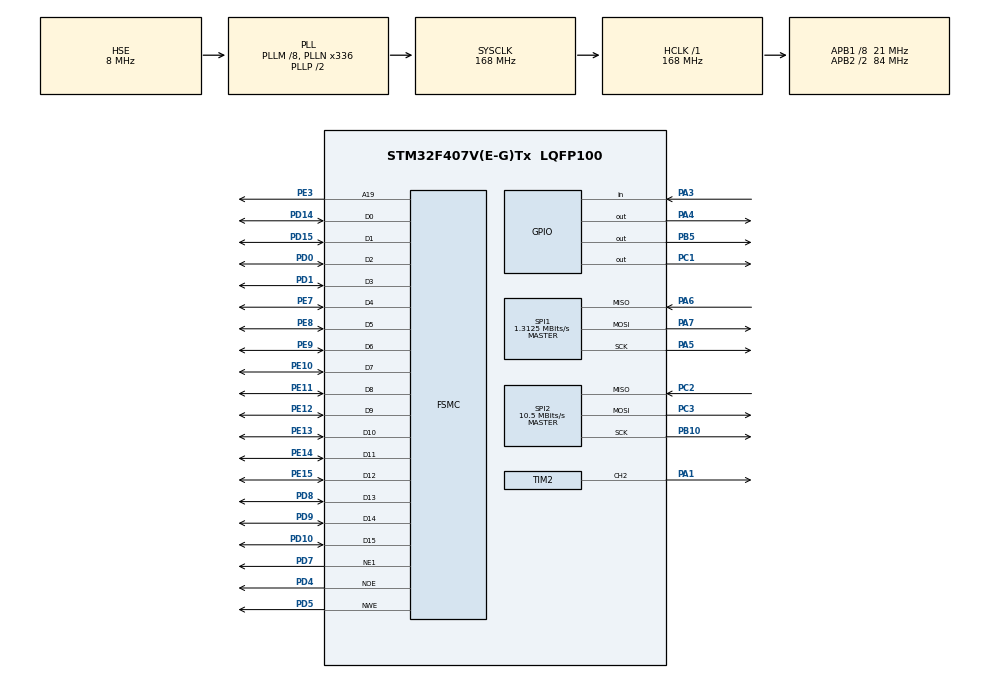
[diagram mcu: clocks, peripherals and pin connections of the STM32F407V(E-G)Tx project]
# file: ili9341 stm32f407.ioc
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FATFS._MAX_SS=4096
FATFS._USE_LFN=1
FSMC.AddressSetupTime1=9
FSMC.DataSetupTime1=36
Mcu.Family=STM32F4
Mcu.Name=STM32F407V(E-G)Tx
Mcu.Package=LQFP100
NVIC.PriorityGroup=NVIC_PRIORITYGROUP_0
PA1.Signal=S_TIM2_CH2
PA3.GPIO_PuPd=GPIO_PULLUP
PA3.Signal=GPIO_Input
PA4.Signal=GPIO_Output
PA5.Mode=Full_Duplex_Master
PA5.Signal=SPI1_SCK
PA6.Mode=Full_Duplex_Master
PA6.Signal=SPI1_MISO
PA7.Mode=Full_Duplex_Master
PA7.Signal=SPI1_MOSI
PB10.Mode=Full_Duplex_Master
PB10.Signal=SPI2_SCK
PB5.Signal=GPIO_Output
PC1.Signal=GPIO_Output
PC2.Mode=Full_Duplex_Master
PC2.Signal=SPI2_MISO
PC3.Mode=Full_Duplex_Master
PC3.Signal=SPI2_MOSI
PD0.Mode=16b-d1
PD0.Signal=FSMC_D2
PD1.Mode=16b-d1
PD1.Signal=FSMC_D3
PD10.Mode=16b-d1
PD10.Signal=FSMC_D15
PD14.Mode=16b-d1
PD14.Signal=FSMC_D0
PD15.Mode=16b-d1
PD15.Signal=FSMC_D1
PD4.Mode=Lcd1
PD4.Signal=FSMC_NOE
PD5.Mode=Lcd1
PD5.Signal=FSMC_NWE
PD7.Mode=NorPsramChipSelect1_1
PD7.Signal=FSMC_NE1
PD8.Mode=16b-d1
PD8.Signal=FSMC_D13
PD9.Mode=16b-d1
PD9.Signal=FSMC_D14
PE10.Mode=16b-d1
PE10.Signal=FSMC_D7
PE11.Mode=16b-d1
PE11.Signal=FSMC_D8
PE12.Mode=16b-d1
PE12.Signal=FSMC_D9
PE13.Mode=16b-d1
PE13.Signal=FSMC_D10
PE14.Mode=16b-d1
PE14.Signal=FSMC_D11
PE15.Mode=16b-d1
PE15.Signal=FSMC_D12
PE3.Mode=A19_1
PE3.Signal=FSMC_A19
PE7.Mode=16b-d1
PE7.Signal=FSMC_D4
PE8.Mode=16b-d1
PE8.Signal=FSMC_D5
PE9.Mode=16b-d1
PE9.Signal=FSMC_D6
PH0-OSC_IN.Mode=HSE-External-Oscillator
PH0-OSC_IN.Signal=RCC_OSC_IN
PH1-OSC_OUT.Mode=HSE-External-Oscillator
PH1-OSC_OUT.Signal=RCC_OSC_OUT
ProjectManager.HeapSize=0x200
ProjectManager.StackSize=0x400
ProjectManager.TargetToolchain=STM32CubeIDE
RCC.48MHZClocksFreq_Value=48000000
RCC.AHBFreq_Value=168000000
RCC.APB1CLKDivider=RCC_HCLK_DIV8
RCC.APB1Freq_Value=21000000
RCC.APB1TimFreq_Value=42000000
RCC.APB2CLKDivider=RCC_HCLK_DIV2
RCC.APB2Freq_Value=84000000
RCC.APB2TimFreq_Value=168000000
RCC.CortexFreq_Value=168000000
RCC.HCLKFreq_Value=168000000
RCC.HSE_VALUE=8000000
RCC.HSI_VALUE=16000000
RCC.LSE_VALUE=32768
RCC.PLLM=8
RCC.PLLN=336
RCC.PLLQ=7
RCC.PLLSourceVirtual=RCC_PLLSOURCE_HSE
RCC.SYSCLKFreq_VALUE=168000000
RCC.SYSCLKSource=RCC_SYSCLKSOURCE_PLLCLK
RCC.VCOOutputFreq_Value=336000000
SH.S_TIM2_CH2.0=TIM2_CH2,PWM Generation2 CH2
SPI1.BaudRatePrescaler=SPI_BAUDRATEPRESCALER_64
SPI1.CalculateBaudRate=1.3125 MBits/s
SPI1.Direction=SPI_DIRECTION_2LINES
SPI1.Mode=SPI_MODE_MASTER
SPI1.VirtualType=VM_MASTER
SPI2.BaudRatePrescaler=SPI_BAUDRATEPRESCALER_2
SPI2.CalculateBaudRate=10.5 MBits/s
SPI2.Direction=SPI_DIRECTION_2LINES
SPI2.Mode=SPI_MODE_MASTER
SPI2.VirtualType=VM_MASTER
TIM2.Channel-PWM\ Generation2\ CH2=TIM_CHANNEL_2
TIM2.Period=9999
TIM2.Prescaler=840-1
VP_FATFS_VS_Generic.Mode=User_defined
VP_TIM2_VS_ClockSourceINT.Mode=Internal
board=STM32F407G-DISC1

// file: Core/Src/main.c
/* USER CODE BEGIN Header */
/**
  ******************************************************************************
  * @file           : main.c
  * @brief          : Main program body
  ******************************************************************************
  * @attention
  *
  * Copyright (c) 2022 STMicroelectronics.
  * All rights reserved.
  *
  * This software is licensed under terms that can be found in the LICENSE file
  * in the root directory of this software component.
  * If no LICENSE file comes with this software, it is provided AS-IS.
  *
  ******************************************************************************
  */
/* USER CODE END Header */
#include "main.h"
#include "fatfs.h"

/* USER CODE BEGIN Includes */
#include "ili9341.h"
#include "fatfs_sd.h"
#include "stdio.h"
#include "string.h"
#include <xpt2046.h>
int16_t x, y;
char buff[64];
uint16_t z=25;
/* USER CODE END Includes */

 SPI_HandleTypeDef hspi1;
SPI_HandleTypeDef hspi2;

TIM_HandleTypeDef htim2;

SRAM_HandleTypeDef hsram1;

void SystemClock_Config(void);
static void MX_GPIO_Init(void);
static void MX_FSMC_Init(void);
static void MX_SPI1_Init(void);
static void MX_TIM2_Init(void);
static void MX_SPI2_Init(void);

/* USER CODE BEGIN 0 */
FATFS fs;  // file system
FIL file; // File
FILINFO fno;
FRESULT fresult;  // result
UINT br, bw;  // File read/write count

/**** capacity related *****/
FATFS *pfs;
DWORD fre_clust;
uint32_t total, free_space;
char buffer[100];
uint16_t farbe;

typedef struct BmpHeader
{
uint8_t B;
uint8_t M;
uint32_t fsize;
uint16_t res1;
uint16_t res2;
uint32_t offset;
uint32_t hsize;
uint32_t w;
uint32_t h;
uint16_t planes;
uint16_t bpp;
uint32_t ctype;
uint32_t dsize;
uint32_t hppm;
uint32_t vppm;
uint32_t colorsused;
uint32_t colorreq;
}BmpHeader;

#define SPIbuffSize 264
#define BUFFER_SIZE 1032
#define BITMAP_HEADER_SIZE sizeof(BmpHeader)
#define MIN(a, b) (((a)<(b))?(a): (b))

int bufsize (char *buf)
{
   int i=0;
   while (*buf++ != '\0') i++;
   return i;
}

int bufclear (void)
{
    for (int i=0; i<1024;i++)
    {
    	buffer[i]= '\0';
    }
}

int displayImage(const char* fname) {
//    UART_Printf("Openning %s...\r\n", fname);
    FIL file;
    FRESULT res = f_open(&file, fname, FA_READ);
    if(res != FR_OK) {
        ILI9341_WriteString(0, 10, "f_open() failed, res = %d\r\n", Font_7x10, ILI9341_RED, ILI9341_WHITE);
        return -1;
    }

    ILI9341_WriteString(0, 20, "File opened, reading...\r\n", Font_7x10, ILI9341_RED, ILI9341_WHITE);

    unsigned int bytesRead;
    uint8_t header[34];
    res = f_read(&file, header, sizeof(header), &bytesRead);
    if(res != FR_OK) {
        ILI9341_WriteString(0, 30, "f_read() failed, res = %d\r\n", Font_7x10, ILI9341_RED, ILI9341_WHITE);
        f_close(&file);
        return -2;
    }

    if((header[0] != 0x42) || (header[1] != 0x4D)) {
        ILI9341_WriteString(0, 40, "Wrong BMP signature: 0x%02X 0x%02X\r\n", Font_7x10, ILI9341_RED, ILI9341_WHITE);
        f_close(&file);
        return -3;
    }

    uint32_t imageOffset = header[10] | (header[11] << 8) | (header[12] << 16) | (header[13] << 24);
    uint32_t imageWidth = header[18] | (header[19] << 8) | (header[20] << 16) | (header[21] << 24);
    uint32_t imageHeight = header[22] | (header[23] << 8) | (header[24] << 16) | (header[25] << 24);
    uint16_t imagePlanes = header[26] | (header[27] << 8);
    uint16_t imageBitsPerPixel = header[28] | (header[29] << 8);
    uint32_t imageCompression = header[30] | (header[31] << 8) | (header[32] << 16) | (header[33] << 24);

    snprintf(buff, sizeof(buff), "Pixels offset: %lu\r\n ", imageOffset);
	ILI9341_WriteString(0, 50, buff, Font_7x10, ILI9341_RED, ILI9341_WHITE);
    snprintf(buff, sizeof(buff), "WxH: %lux%lu\r\n ", imageWidth, imageHeight);
	ILI9341_WriteString(0, 60, buff, Font_7x10, ILI9341_RED, ILI9341_WHITE);
    snprintf(buff, sizeof(buff), "Planes: %d\r\n ", imagePlanes);
	ILI9341_WriteString(0, 70, buff, Font_7x10, ILI9341_RED, ILI9341_WHITE);
    snprintf(buff, sizeof(buff), "Bits per pixel: %d\r\n ", imageBitsPerPixel);
	ILI9341_WriteString(0, 80, buff, Font_7x10, ILI9341_RED, ILI9341_WHITE);
    snprintf(buff, sizeof(buff), "Compression: %d\r\n ", imageCompression);
	ILI9341_WriteString(0, 90, buff, Font_7x10, ILI9341_RED, ILI9341_WHITE);

    if((imageWidth != ILI9341_WIDTH) || (imageHeight != ILI9341_HEIGHT)) {
//        UART_Printf("Wrong BMP size, %dx%d expected\r\n", ST7735_WIDTH, ST7735_HEIGHT);
        ILI9341_WriteString(0, 100, "Wrong BMP size, %dx%d expected\r\n", Font_7x10, ILI9341_RED, ILI9341_WHITE);
        f_close(&file);
        return -4;
    }

    if((imagePlanes != 1) || (imageBitsPerPixel != 24) || (imageCompression != 0)) {
        ILI9341_WriteString(0, 110, "Unsupported image format\r\n", Font_7x10, ILI9341_RED, ILI9341_WHITE);
        f_close(&file);
        return -5;
    }

    res = f_lseek(&file, imageOffset);
    if(res != FR_OK) {

        snprintf(buff, sizeof(buff), "f_lseek() failed, res = %d\r\n ", res);
    	ILI9341_WriteString(0, 120, buff, Font_7x10, ILI9341_RED, ILI9341_WHITE);
        f_close(&file);
        return -6;
    }

    // row size is aligned to 4 bytes
    uint8_t imageRow[(ILI9341_WIDTH * 3 + 3) & ~3];
    for(uint32_t y = 0; y < imageHeight; y++) {
        uint32_t rowIdx = 0;
        res = f_read(&file, imageRow, sizeof(imageRow), &bytesRead);
        if(res != FR_OK) {
            snprintf(buff, sizeof(buff), "f_read() failed, res = %d\r\n", res);
        	ILI9341_WriteString(0, 130, buff, Font_7x10, ILI9341_RED, ILI9341_WHITE);
            f_close(&file);
            return -7;
        }

        for(uint32_t x = 0; x < imageWidth; x++) {
            uint8_t b = imageRow[rowIdx++];
            uint8_t g = imageRow[rowIdx++];
            uint8_t r = imageRow[rowIdx++];
            uint16_t color565 = ILI9341_COLOR565(r, g, b);
            ILI9341_DrawPixel(x, imageHeight - y - 1, color565);
        }
    }

    res = f_close(&file);
    if(res != FR_OK) {
//        UART_Printf("f_close() failed, res = %d\r\n", res);
        snprintf(buff, sizeof(buff), "f_close() failed, res = %d\r\n", res);
    	ILI9341_WriteString(0, 140, buff, Font_7x10, ILI9341_RED, ILI9341_WHITE);
        return -8;
    }

    return 0;
}
/* USER CODE END 0 */

int main(void)
{

  /* MCU Configuration--------------------------------------------------------*/

  /* Reset of all peripherals, Initializes the Flash interface and the Systick. */
  HAL_Init();

  /* Configure the system clock */
  SystemClock_Config();

  /* Initialize all configured peripherals */
  MX_GPIO_Init();
  MX_FSMC_Init();
  MX_SPI1_Init();
  MX_TIM2_Init();
  MX_SPI2_Init();
  MX_FATFS_Init();
  /* USER CODE BEGIN 2 */
  HAL_TIM_PWM_Start(&htim2, TIM_CHANNEL_2);
  ILI9341_Init();
  TSC2046_Begin(&hspi1, GPIOA, GPIO_PIN_4 );
//  TSC2046_Calibrate();
  /* USER CODE END 2 */
  FRESULT res = f_mount(&fs, "", 0);
  if(res != FR_OK) {
//      UART_Printf("f_mount() failed, res = %d\r\n", res);
      snprintf(buff, sizeof(buff), "f_mount() failed, res = %d\r\n", res);
  	ILI9341_WriteString(0, 150, buff, Font_7x10, ILI9341_RED, ILI9341_WHITE);
      return -2;
  }
  ILI9341_WriteString(0, 160, "f_mount() done!\r\n", Font_7x10, ILI9341_RED, ILI9341_WHITE);
//  UART_Printf("f_mount() done!\r\n");
  /* Infinite loop */
  while (1)
  {
	  displayImage("ismail.bmp");
	  HAL_Delay(1000);
	  displayImage("tiger.bmp");
	  HAL_Delay(1000);
	  displayImage("tiger1.bmp");
	  HAL_Delay(1000);
	  displayImage("tiger2.bmp");
	  HAL_Delay(1000);
  }
}

void SystemClock_Config(void)
{
  RCC_OscInitTypeDef RCC_OscInitStruct = {0};
  RCC_ClkInitTypeDef RCC_ClkInitStruct = {0};

  /** Configure the main internal regulator output voltage
  */
  __HAL_RCC_PWR_CLK_ENABLE();
  __HAL_PWR_VOLTAGESCALING_CONFIG(PWR_REGULATOR_VOLTAGE_SCALE1);

  /** Initializes the RCC Oscillators according to the specified parameters
  * in the RCC_OscInitTypeDef structure.
  */
  RCC_OscInitStruct.OscillatorType = RCC_OSCILLATORTYPE_HSE;
  RCC_OscInitStruct.HSEState = RCC_HSE_ON;
  RCC_OscInitStruct.PLL.PLLState = RCC_PLL_ON;
  RCC_OscInitStruct.PLL.PLLSource = RCC_PLLSOURCE_HSE;
  RCC_OscInitStruct.PLL.PLLM = 8;
  RCC_OscInitStruct.PLL.PLLN = 336;
  RCC_OscInitStruct.PLL.PLLP = RCC_PLLP_DIV2;
  RCC_OscInitStruct.PLL.PLLQ = 7;
  if (HAL_RCC_OscConfig(&RCC_OscInitStruct) != HAL_OK)
  {
    Error_Handler();
  }

  /** Initializes the CPU, AHB and APB buses clocks
  */
  RCC_ClkInitStruct.ClockType = RCC_CLOCKTYPE_HCLK|RCC_CLOCKTYPE_SYSCLK
                              |RCC_CLOCKTYPE_PCLK1|RCC_CLOCKTYPE_PCLK2;
  RCC_ClkInitStruct.SYSCLKSource = RCC_SYSCLKSOURCE_PLLCLK;
  RCC_ClkInitStruct.AHBCLKDivider = RCC_SYSCLK_DIV1;
  RCC_ClkInitStruct.APB1CLKDivider = RCC_HCLK_DIV8;
  RCC_ClkInitStruct.APB2CLKDivider = RCC_HCLK_DIV2;

  if (HAL_RCC_ClockConfig(&RCC_ClkInitStruct, FLASH_LATENCY_5) != HAL_OK)
  {
    Error_Handler();
  }
}

static void MX_SPI1_Init(void)
{

  /* SPI1 parameter configuration*/
  hspi1.Instance = SPI1;
  hspi1.Init.Mode = SPI_MODE_MASTER;
  hspi1.Init.Direction = SPI_DIRECTION_2LINES;
  hspi1.Init.DataSize = SPI_DATASIZE_8BIT;
  hspi1.Init.CLKPolarity = SPI_POLARITY_LOW;
  hspi1.Init.CLKPhase = SPI_PHASE_1EDGE;
  hspi1.Init.NSS = SPI_NSS_SOFT;
  hspi1.Init.BaudRatePrescaler = SPI_BAUDRATEPRESCALER_64;
  hspi1.Init.FirstBit = SPI_FIRSTBIT_MSB;
  hspi1.Init.TIMode = SPI_TIMODE_DISABLE;
  hspi1.Init.CRCCalculation = SPI_CRCCALCULATION_DISABLE;
  hspi1.Init.CRCPolynomial = 10;
  if (HAL_SPI_Init(&hspi1) != HAL_OK)
  {
    Error_Handler();
  }

}

static void MX_SPI2_Init(void)
{

  /* SPI2 parameter configuration*/
  hspi2.Instance = SPI2;
  hspi2.Init.Mode = SPI_MODE_MASTER;
  hspi2.Init.Direction = SPI_DIRECTION_2LINES;
  hspi2.Init.DataSize = SPI_DATASIZE_8BIT;
  hspi2.Init.CLKPolarity = SPI_POLARITY_LOW;
  hspi2.Init.CLKPhase = SPI_PHASE_1EDGE;
  hspi2.Init.NSS = SPI_NSS_SOFT;
  hspi2.Init.BaudRatePrescaler = SPI_BAUDRATEPRESCALER_2;
  hspi2.Init.FirstBit = SPI_FIRSTBIT_MSB;
  hspi2.Init.TIMode = SPI_TIMODE_DISABLE;
  hspi2.Init.CRCCalculation = SPI_CRCCALCULATION_DISABLE;
  hspi2.Init.CRCPolynomial = 10;
  if (HAL_SPI_Init(&hspi2) != HAL_OK)
  {
    Error_Handler();
  }

}

static void MX_TIM2_Init(void)
{

  TIM_ClockConfigTypeDef sClockSourceConfig = {0};
  TIM_MasterConfigTypeDef sMasterConfig = {0};
  TIM_OC_InitTypeDef sConfigOC = {0};

  htim2.Instance = TIM2;
  htim2.Init.Prescaler = 840-1;
  htim2.Init.CounterMode = TIM_COUNTERMODE_UP;
  htim2.Init.Period = 9999;
  htim2.Init.ClockDivision = TIM_CLOCKDIVISION_DIV1;
  htim2.Init.AutoReloadPreload = TIM_AUTORELOAD_PRELOAD_DISABLE;
  if (HAL_TIM_Base_Init(&htim2) != HAL_OK)
  {
    Error_Handler();
  }
  sClockSourceConfig.ClockSource = TIM_CLOCKSOURCE_INTERNAL;
  if (HAL_TIM_ConfigClockSource(&htim2, &sClockSourceConfig) != HAL_OK)
  {
    Error_Handler();
  }
  if (HAL_TIM_PWM_Init(&htim2) != HAL_OK)
  {
    Error_Handler();
  }
  sMasterConfig.MasterOutputTrigger = TIM_TRGO_RESET;
  sMasterConfig.MasterSlaveMode = TIM_MASTERSLAVEMODE_DISABLE;
  if (HAL_TIMEx_MasterConfigSynchronization(&htim2, &sMasterConfig) != HAL_OK)
  {
    Error_Handler();
  }
  sConfigOC.OCMode = TIM_OCMODE_PWM1;
  sConfigOC.Pulse = 0;
  sConfigOC.OCPolarity = TIM_OCPOLARITY_HIGH;
  sConfigOC.OCFastMode = TIM_OCFAST_DISABLE;
  if (HAL_TIM_PWM_ConfigChannel(&htim2, &sConfigOC, TIM_CHANNEL_2) != HAL_OK)
  {
    Error_Handler();
  }
  HAL_TIM_MspPostInit(&htim2);

}

static void MX_GPIO_Init(void)
{
  GPIO_InitTypeDef GPIO_InitStruct = {0};

  /* GPIO Ports Clock Enable */
  __HAL_RCC_GPIOE_CLK_ENABLE();
  __HAL_RCC_GPIOH_CLK_ENABLE();
  __HAL_RCC_GPIOC_CLK_ENABLE();
  __HAL_RCC_GPIOA_CLK_ENABLE();
  __HAL_RCC_GPIOB_CLK_ENABLE();
  __HAL_RCC_GPIOD_CLK_ENABLE();

  /*Configure GPIO pin Output Level */
  HAL_GPIO_WritePin(GPIOC, GPIO_PIN_1, GPIO_PIN_RESET);

  /*Configure GPIO pin Output Level */
  HAL_GPIO_WritePin(GPIOA, GPIO_PIN_4, GPIO_PIN_RESET);

  /*Configure GPIO pin Output Level */
  HAL_GPIO_WritePin(GPIOB, GPIO_PIN_5, GPIO_PIN_RESET);

  /*Configure GPIO pin : PC1 */
  GPIO_InitStruct.Pin = GPIO_PIN_1;
  GPIO_InitStruct.Mode = GPIO_MODE_OUTPUT_PP;
  GPIO_InitStruct.Pull = GPIO_NOPULL;
  GPIO_InitStruct.Speed = GPIO_SPEED_FREQ_LOW;
  HAL_GPIO_Init(GPIOC, &GPIO_InitStruct);

  /*Configure GPIO pin : PA3 */
  GPIO_InitStruct.Pin = GPIO_PIN_3;
  GPIO_InitStruct.Mode = GPIO_MODE_INPUT;
  GPIO_InitStruct.Pull = GPIO_PULLUP;
  HAL_GPIO_Init(GPIOA, &GPIO_InitStruct);

  /*Configure GPIO pin : PA4 */
  GPIO_InitStruct.Pin = GPIO_PIN_4;
  GPIO_InitStruct.Mode = GPIO_MODE_OUTPUT_PP;
  GPIO_InitStruct.Pull = GPIO_NOPULL;
  GPIO_InitStruct.Speed = GPIO_SPEED_FREQ_LOW;
  HAL_GPIO_Init(GPIOA, &GPIO_InitStruct);

  /*Configure GPIO pin : PB5 */
  GPIO_InitStruct.Pin = GPIO_PIN_5;
  GPIO_InitStruct.Mode = GPIO_MODE_OUTPUT_PP;
  GPIO_InitStruct.Pull = GPIO_NOPULL;
  GPIO_InitStruct.Speed = GPIO_SPEED_FREQ_LOW;
  HAL_GPIO_Init(GPIOB, &GPIO_InitStruct);

}

/* FSMC initialization function */
static void MX_FSMC_Init(void)
{

  FSMC_NORSRAM_TimingTypeDef Timing = {0};

  /** Perform the SRAM1 memory initialization sequence
  */
  hsram1.Instance = FSMC_NORSRAM_DEVICE;
  hsram1.Extended = FSMC_NORSRAM_EXTENDED_DEVICE;
  /* hsram1.Init */
  hsram1.Init.NSBank = FSMC_NORSRAM_BANK1;
  hsram1.Init.DataAddressMux = FSMC_DATA_ADDRESS_MUX_DISABLE;
  hsram1.Init.MemoryType = FSMC_MEMORY_TYPE_SRAM;
  hsram1.Init.MemoryDataWidth = FSMC_NORSRAM_MEM_BUS_WIDTH_16;
  hsram1.Init.BurstAccessMode = FSMC_BURST_ACCESS_MODE_DISABLE;
  hsram1.Init.WaitSignalPolarity = FSMC_WAIT_SIGNAL_POLARITY_LOW;
  hsram1.Init.WrapMode = FSMC_WRAP_MODE_DISABLE;
  hsram1.Init.WaitSignalActive = FSMC_WAIT_TIMING_BEFORE_WS;
  hsram1.Init.WriteOperation = FSMC_WRITE_OPERATION_ENABLE;
  hsram1.Init.WaitSignal = FSMC_WAIT_SIGNAL_DISABLE;
  hsram1.Init.ExtendedMode = FSMC_EXTENDED_MODE_DISABLE;
  hsram1.Init.AsynchronousWait = FSMC_ASYNCHRONOUS_WAIT_DISABLE;
  hsram1.Init.WriteBurst = FSMC_WRITE_BURST_DISABLE;
  hsram1.Init.PageSize = FSMC_PAGE_SIZE_NONE;
  /* Timing */
  Timing.AddressSetupTime = 9;
  Timing.AddressHoldTime = 15;
  Timing.DataSetupTime = 36;
  Timing.BusTurnAroundDuration = 15;
  Timing.CLKDivision = 16;
  Timing.DataLatency = 17;
  Timing.AccessMode = FSMC_ACCESS_MODE_A;
  /* ExtTiming */

  if (HAL_SRAM_Init(&hsram1, &Timing, NULL) != HAL_OK)
  {
    Error_Handler( );
  }

}

void Error_Handler(void)
{
  __disable_irq();
  while (1)
  {
  }
}
